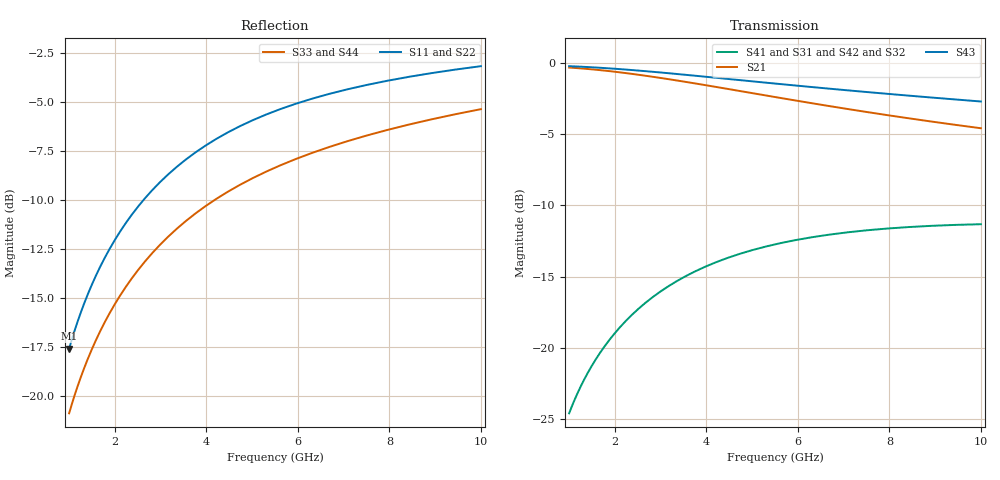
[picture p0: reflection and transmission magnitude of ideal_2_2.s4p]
! Synthetic ideal circuit; generated by generate_synthetic.py
# Hz S RI R 50
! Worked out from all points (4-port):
!   41 points, 1 GHz to 10 GHz, reference 50 ohm
!   strongest paths, dB at 1 GHz, 1.778 GHz, 3.162 GHz, 5.623 GHz, 10 GHz:
!     S43: -0.2, -0.4, -0.7, -1.5, -2.7
!     S21: -0.3, -0.5, -1.1, -2.5, -4.6
!     S41: -24.6, -19.9, -15.7, -12.6, -11.3
!     S31: -24.6, -19.9, -15.7, -12.6, -11.3
!     S42: -24.6, -19.9, -15.7, -12.6, -11.3
!     S32: -24.6, -19.9, -15.7, -12.6, -11.3
!   lowest |S11| = -17.6 dB at 1 GHz (marker M1), VSWR 1.31, Z = 53.2 + j13.4 ohm
!   |S11| at or under -10 dB: start of sweep to 2.62 GHz
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1e9  0.0467 0.1238  0.9533 -0.1314  0.0132 0.0575  -0.0132 -0.0575
     0.9533 -0.1314  0.0467 0.1238  -0.0132 -0.0575  0.0132 0.0575
     0.0132 0.0575  -0.0132 -0.0575  0.0314 0.085  0.9686 -0.0925
     -0.0132 -0.0575  0.0132 0.0575  0.9686 -0.0925  0.0314 0.085
1.496236e9  0.0708 0.1792  0.9292 -0.1905  0.0284 0.0818  -0.0284 -0.0818
            0.9292 -0.1905  0.0708 0.1792  -0.0284 -0.0818  0.0284 0.0818
            0.0284 0.0818  -0.0284 -0.0818  0.0451 0.1239  0.9549 -0.1352
            -0.0284 -0.0818  0.0284 0.0818  0.9549 -0.1352  0.0451 0.1239
2.113489e9  0.1102 0.239  0.8897 -0.2549  0.053 0.1058  -0.053 -0.1058
            0.8897 -0.2549  0.1102 0.239  -0.053 -0.1058  0.053 0.1058
            0.053 0.1058  -0.053 -0.1058  0.0678 0.1676  0.9321 -0.1835
            -0.053 -0.1058  0.053 0.1058  0.9321 -0.1835  0.0678 0.1676
2.985383e9  0.1768 0.3041  0.823 -0.3267  0.0935 0.1265  -0.0935 -0.1265
            0.823 -0.3267  0.1768 0.3041  -0.0935 -0.1265  0.0935 0.1265
            0.0935 0.1265  -0.0935 -0.1265  0.1068 0.2189  0.893 -0.2414
            -0.0935 -0.1265  0.0935 0.1265  0.893 -0.2414  0.1068 0.2189
3.981072e9  0.2574 0.3521  0.7421 -0.3821  0.1404 0.1323  -0.1404 -0.1323
            0.7421 -0.3821  0.2574 0.3521  -0.1404 -0.1323  0.1404 0.1323
            0.1404 0.1323  -0.1404 -0.1323  0.1556 0.2631  0.844 -0.2931
            -0.1404 -0.1323  0.1404 0.1323  0.844 -0.2931  0.1556 0.2631
6.309573e9  0.4237 0.3878  0.5751 -0.4354  0.224 0.098  -0.224 -0.098
            0.5751 -0.4354  0.4237 0.3878  -0.224 -0.098  0.224 0.098
            0.224 0.098  -0.224 -0.098  0.2651 0.3229  0.7337 -0.3705
            -0.224 -0.098  0.224 0.098  0.7337 -0.3705  0.2651 0.3229
1e10  0.5966 0.3572  0.4006 -0.4324  0.2716 0.00566  -0.2716 -0.00566
      0.4006 -0.4324  0.5966 0.3572  -0.2716 -0.00566  0.2716 0.00566
      0.2716 0.00566  -0.2716 -0.00566  0.4063 0.3561  0.5909 -0.4314
      -0.2716 -0.00566  0.2716 0.00566  0.5909 -0.4314  0.4063 0.3561
